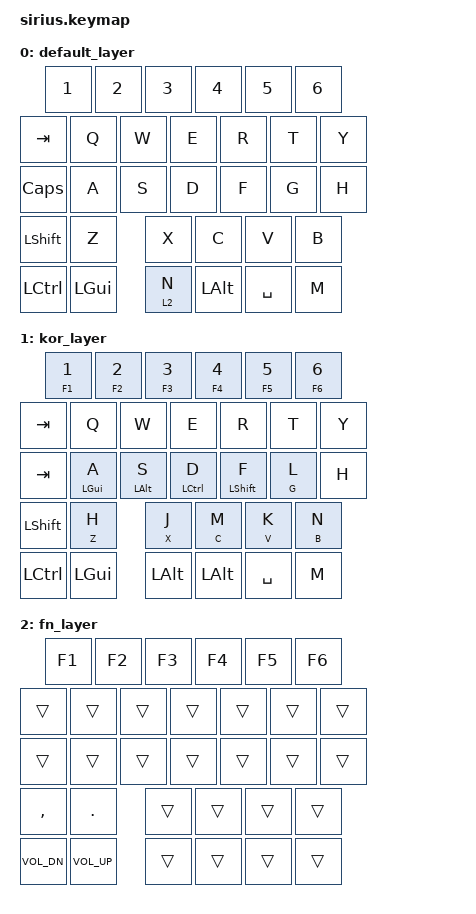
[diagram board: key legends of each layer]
#include <behaviors.dtsi>
#include <dt-bindings/zmk/bt.h>
#include <dt-bindings/zmk/keys.h>

/ {
    behaviors {
        hm: homerow_mods {
            compatible = "zmk,behavior-hold-tap";
            #binding-cells = <2>;
            tapping-term-ms = <200>;
            quick-tap-ms = <200>;
            require-prior-idle-ms = <100>;
            flavor = "tap-preferred";
            bindings = <&kp>, <&kp>;
        };

        ht: hold_tap {
            compatible = "zmk,behavior-hold-tap";
            #binding-cells = <2>;
            tapping-term-ms = <200>;
            quick-tap-ms = <200>;
            require-prior-idle-ms = <100>;
            flavor = "tap-preferred";
            bindings = <&kp>, <&kp>;
        };

        td_lang: tap_dance_lang {
            compatible = "zmk,behavior-tap-dance";
            #binding-cells = <0>;
            tapping-term-ms = <200>;
            bindings = <&kp RALT>, <&kp CAPS>;
        };

        td_o: tap_dance_o {
            compatible = "zmk,behavior-tap-dance";
            #binding-cells = <0>;
            tapping-term-ms = <200>;
            bindings = <&kp O>, <&kp LS(O)>;
        };

        td_p: tap_dance_p {
            compatible = "zmk,behavior-tap-dance";
            #binding-cells = <0>;
            tapping-term-ms = <200>;
            bindings = <&kp P>, <&kp LS(P)>;
        };
    };

/*         KEY POSITIONS
  ╭────────────────────────────╮ 
  │    0   1   2   3   4   5   │
  │  6   7   8   9  10  11  12 │ 
  │ 13  14  15  16  17  18  19 │ 
  │ 20  21    22  23  24  25   │ 
  │ 26  27    28  29  30  31   │  
  ╰────────────────────────────╯ */

    combos {
        compatible = "zmk,combos";
        combo_esc { timeout-ms = <50>; key-positions = <0 1 2>; bindings = <&kp ESC>; };
        combo_kor { timeout-ms = <50>; key-positions = <26 27>; bindings = <&tog 1>; };
        combo_lang { timeout-ms = <50>; key-positions = <20 21>; bindings = <&kp RALT>; };
    };

      keymap {
        compatible = "zmk,keymap";

        default_layer {
            bindings = <
            &kp N1         &kp N2         &kp N3         &kp N4         &kp N5         &kp N6
            &kp TAB        &kp Q          &kp W          &kp E          &kp R          &kp T          &kp Y
            &kp CAPS       &kp A          &kp S          &kp D          &kp F          &kp G          &kp H
            &kp LSHFT      &kp Z          &kp X          &kp C          &kp V          &kp B
            &kp LCTRL      &kp LGUI       &lt 2 N          &kp LALT       &kp SPACE      &kp M
            >;
        };

        kor_layer {
            bindings = <
            &ht F1 N1      &ht F2 N2      &ht F3 N3      &ht F4 N4      &ht F5 N5      &ht F6 N6
            &kp TAB        &kp Q          &kp W          &kp E          &kp R          &kp T          &kp Y
            &kp TAB        &hm LGUI A     &hm LALT S     &hm LCTRL D    &hm LSHFT F    &ht G L        &kp H
            &kp LSHFT      &ht Z H        &ht X J        &ht C M        &ht V K        &ht B N   
            &kp LCTRL      &kp LGUI       &kp LALT       &kp LALT       &kp SPACE      &kp M
            >;
        };

        fn_layer {
            bindings = <
            &kp F1         &kp F2         &kp F3         &kp F4         &kp F5         &kp F6
            &trans         &trans         &trans         &trans         &trans         &trans         &trans
            &trans         &trans         &trans         &trans         &trans         &trans         &trans
            &kp COMMA       &kp DOT       &trans         &trans         &trans         &trans
            &kp C_VOL_DN   &kp C_VOL_UP   &trans         &trans         &trans         &trans
            >;
        };
    };
};
